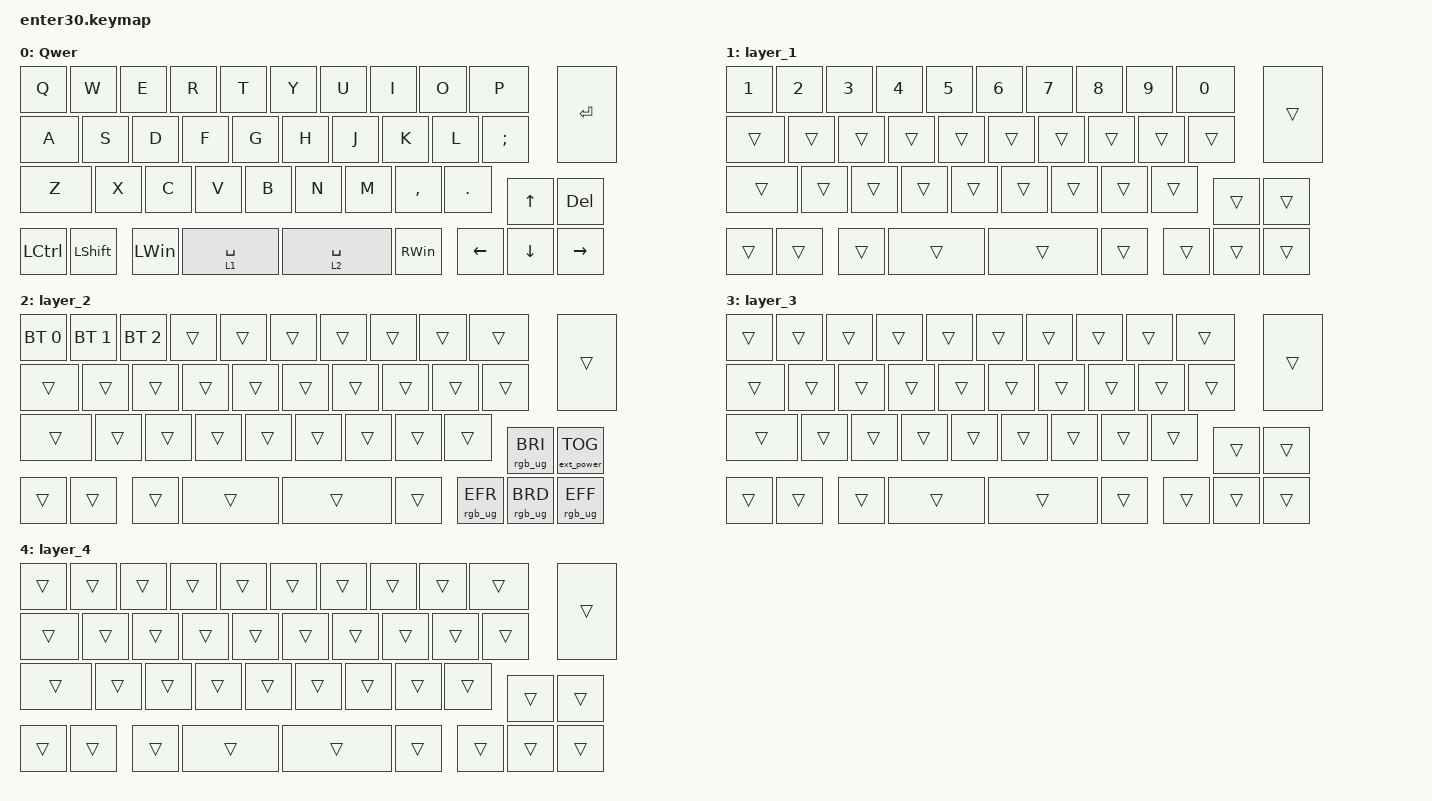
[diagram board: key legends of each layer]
/*
 * Copyright (c) 2021 The ZMK Contributors
 *
 * SPDX-License-Identifier: MIT
 */

#include <behaviors.dtsi>
#include <dt-bindings/zmk/bt.h>
#include <dt-bindings/zmk/ext_power.h>
#include <dt-bindings/zmk/keys.h>
#include <dt-bindings/zmk/rgb.h>

/ {
    combos {
        compatible = "zmk,combos";

        combo_esc {
            timeout-ms = <50>;
            key-positions = <0 1>;
            bindings = <&kp ESC>;
        };

        left_bkt {
            bindings = <&kp LEFT_BRACKET>;
            key-positions = <3 4>;
        };

        right_bkt {
            bindings = <&kp RIGHT_BRACKET>;
            key-positions = <7 8>;
        };

        left_brace {
            bindings = <&kp LEFT_BRACE>;
            key-positions = <26 27>;
        };

        right_brace {
            bindings = <&kp RIGHT_BRACE>;
            key-positions = <30 31>;
        };

        less_than {
            bindings = <&kp LESS_THAN>;
            key-positions = <15 16>;
        };

        great_than {
            bindings = <&kp GREATER_THAN>;
            key-positions = <19 20>;
        };

        pipe {
            bindings = <&kp PIPE>;
            key-positions = <15 20>;
        };

        back_slash {
            bindings = <&kp BACKSLASH>;
            key-positions = <3 8>;
        };
    };

    behaviors {
        hm: homerow_mods {
            compatible = "zmk,behavior-hold-tap";
            label = "HOMEROW_MODS";
            bindings = <&kp>, <&kp>;

            #binding-cells = <2>;
            tapping-term-ms = <200>;
            quick-tap-ms = <180>;
            flavor = "tap-preferred";
        };

        ltq: ltq {
            compatible = "zmk,behavior-hold-tap";
            label = "LTQ";
            bindings = <&mo>, <&kp>;

            #binding-cells = <2>;
            tapping-term-ms = <200>;
            quick-tap-ms = <180>;
        };

        as: auto_shift {
            compatible = "zmk,behavior-hold-tap";
            label = "AUTO_SHIFT";
            bindings = <&kp>, <&kp>;

            #binding-cells = <2>;
            tapping-term-ms = <135>;
            quick-tap-ms = <0>;
        };
    };

    keymap {
        compatible = "zmk,keymap";

        Qwer {
            bindings = <
&kp Q      &kp W       &kp E     &kp R        &kp T        &kp Y     &kp U     &kp I      &kp O       &kp P         &kp ENTER
&kp A      &kp S       &kp D     &kp F        &kp G        &kp H     &kp J     &kp K      &kp L       &kp SEMI
&kp Z      &kp X       &kp C     &kp V        &kp B        &kp N     &kp M     &kp COMMA  &kp PERIOD  &kp UP_ARROW  &kp DELETE
&kp LCTRL  &kp LSHIFT  &kp LWIN  &lt 1 SPACE  &lt 2 SPACE  &kp RWIN  &kp LEFT  &kp DOWN   &kp RIGHT
            >;

            label = "Qwer";
        };

        layer_1 {
            bindings = <
&kp NUMBER_1  &kp N2  &kp NUMBER_3  &kp NUMBER_4  &kp N5  &kp NUMBER_6  &kp N7  &kp N8  &kp N9  &kp N0  &trans
&trans        &trans  &trans        &trans        &trans  &trans        &trans  &trans  &trans  &trans
&trans        &trans  &trans        &trans        &trans  &trans        &trans  &trans  &trans  &trans  &trans
&trans        &trans  &trans        &trans        &trans  &trans        &trans  &trans  &trans
            >;
        };

        layer_2 {
            bindings = <
&bt BT_SEL 0  &bt BT_SEL 1  &bt BT_SEL 2  &trans  &trans  &trans  &trans           &trans           &trans           &trans           &trans
&trans        &trans        &trans        &trans  &trans  &trans  &trans           &trans           &trans           &trans
&trans        &trans        &trans        &trans  &trans  &trans  &trans           &trans           &trans           &rgb_ug RGB_BRI  &ext_power EP_TOG
&trans        &trans        &trans        &trans  &trans  &trans  &rgb_ug RGB_EFR  &rgb_ug RGB_BRD  &rgb_ug RGB_EFF
            >;
        };

        layer_3 {
            bindings = <
&trans  &trans  &trans  &trans  &trans  &trans  &trans  &trans  &trans  &trans  &trans
&trans  &trans  &trans  &trans  &trans  &trans  &trans  &trans  &trans  &trans
&trans  &trans  &trans  &trans  &trans  &trans  &trans  &trans  &trans  &trans  &trans
&trans  &trans  &trans  &trans  &trans  &trans  &trans  &trans  &trans
            >;
        };

        layer_4 {
            bindings = <
&trans  &trans  &trans  &trans  &trans  &trans  &trans  &trans  &trans  &trans  &trans
&trans  &trans  &trans  &trans  &trans  &trans  &trans  &trans  &trans  &trans
&trans  &trans  &trans  &trans  &trans  &trans  &trans  &trans  &trans  &trans  &trans
&trans  &trans  &trans  &trans  &trans  &trans  &trans  &trans  &trans
            >;
        };
    };
};
